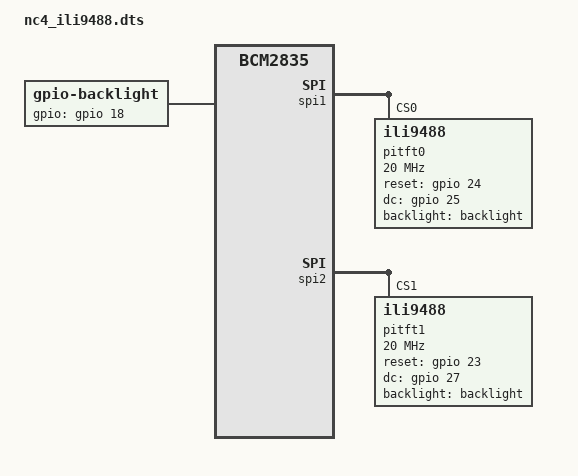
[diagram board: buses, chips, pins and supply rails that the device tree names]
/********************************************************************************
 * nc4_ili9488.dts
 * 
 * Device Tree Overlay for two ILI9488 panels on Raspberry Pi's SPI0 bus.
 * - Disables spidev0 (CS0) and spidev1 (CS1).
 * - Creates two SPI child nodes: pitft0@0 (CE0) and pitft1@1 (CE1).
 * - Each panel has its own Reset and DC lines.
 * - Shared backlight on GPIO18.
 *
 * Compatible usage:
 *   dtoverlay=nc4_ili9488
 ********************************************************************************/
 /dts-v1/;
/plugin/;

/ {
	compatible = "brcm,bcm2835";

	/****************************************************************************
	 * Fragment 0: Enable SPI1 hardware
	 ****************************************************************************/
    fragment@0 {
        target = <&spi1>; /* SPI1 Bus */
        __overlay__ {
            status = "okay"; /* Enable SPI1 */
        };
    };

    /***************************************************************************
     * Fragment 1-3: Disable spidev for SPI1
     ***************************************************************************/
    fragment@1 {
        target = <&spidev1_0>; /* SPI1, CS0 */
        __overlay__ {
            status = "disabled";
        };
    };

    fragment@2 {
        target = <&spidev1_1>; /* SPI1, CS1 */
        __overlay__ {
            status = "disabled";
        };
    };

    fragment@3 {
        target = <&spidev1_2>; /* SPI1, CS2 */
        __overlay__ {
            status = "disabled";
        };
    };

	/****************************************************************************
	 * Fragment 4: GPIO pins for the FIRST panel (pitft0)
	 *   GPIO24 = RESET (out)
	 *   GPIO25 = DC (out)
	 *   GPIO18 = Backlight (out, shared)
	 ****************************************************************************/
	fragment@4 {
		target = <&gpio>;
		__overlay__ {
			pitft0_pins: pitft0_pins {
				brcm,pins = <24 25>;
				brcm,function = <1 1>; /* Set as output */
			};
		};
	};

	/****************************************************************************
	 * Fragment 5: GPIO pins for the SECOND panel (pitft1)
	 *   GPIO23 = RESET (out)
	 *   GPIO27 = DC (out)
	 *   GPIO18 = Backlight (out, shared)
	 ****************************************************************************/
	fragment@5 {
		target = <&gpio>;
		__overlay__ {
			pitft1_pins: pitft1_pins {
				brcm,pins = <23 27>;
				brcm,function = <1 1>; /* Set as output */
			};
		};
	};

	/****************************************************************************
	 * Fragment 6: FIRST ILI9488 device node on SPI0 CE0
	 ****************************************************************************/
	fragment@6 {
		target = <&spi1>;
		__overlay__ {
			#address-cells = <1>;
			#size-cells = <0>;

			pitft0: pitft0@0 {
				compatible = "ili9488"; /* Reusing the original compatible */
				pinctrl-names = "default";
				pinctrl-0 = <&pitft0_pins>;

				reg = <0>; /* CE0 line */
				spi-max-frequency = <20000000>; // Defualt: 128000000, 4000000

				rotation = <0>;
				reset-gpios = <&gpio 24 0>;
				dc-gpios = <&gpio 25 0>;
				backlight = <&backlight>;
			};
		};
	};

	/****************************************************************************
	 * Fragment 7: SECOND ILI9488 device node on SPI0 CE1
	 ****************************************************************************/
	fragment@7 {
		target = <&spi2>;
		__overlay__ {
			pitft1: pitft1@1 {
				compatible = "ili9488"; /* Same panel type, different CS */
				pinctrl-names = "default";
				pinctrl-0 = <&pitft1_pins>;

				reg = <1>; /* CE1 line */
				spi-max-frequency = <20000000>; 

				rotation = <0>;
				reset-gpios = <&gpio 23 0>;
				dc-gpios = <&gpio 27 0>;
				backlight = <&backlight>;
			};
		};
	};

	/****************************************************************************
	 * Fragment 8: Shared backlight control for both panels
	 ****************************************************************************/
	fragment@8 {
		target-path = "/soc";
		__overlay__ {
			backlight: backlight {
				compatible = "gpio-backlight";
				gpios = <&gpio 18 0>;
			};
		};
	};

	/****************************************************************************
	 * Overridable parameters for speed and rotation
	 ****************************************************************************/
	__overrides__ {
		speed = <&pitft0>,"spi-max-frequency:0", <&pitft1>,"spi-max-frequency:0";
		rotation = <&pitft0>,"rotation:0", <&pitft1>,"rotation:0";
	};
};
